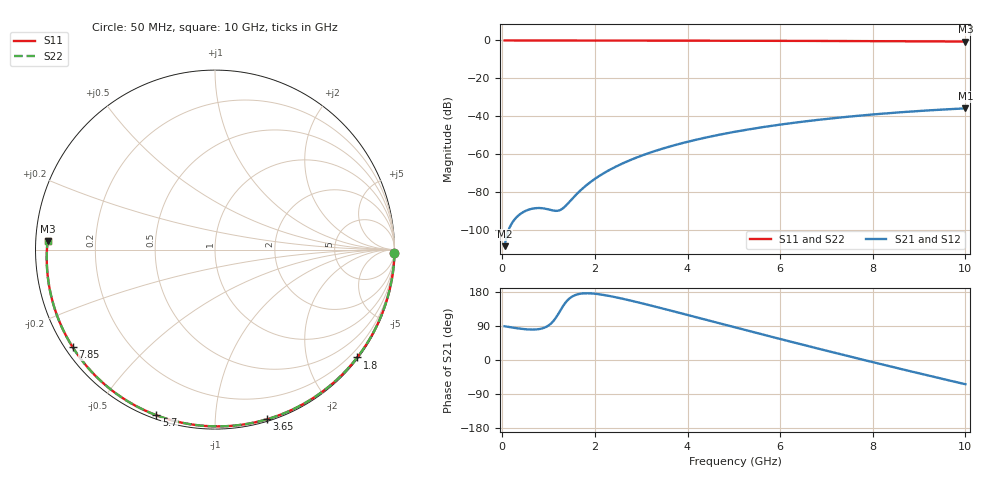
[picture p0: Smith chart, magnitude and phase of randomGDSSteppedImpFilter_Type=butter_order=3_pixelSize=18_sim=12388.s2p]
! freq	dB(S11)	phase(S11)	dB(S12)	phase(S12)
!  dB(S21)	phase(S21)	dB(S22)	phase(S22)
!S-par simulation data
#  GHz  S  DB  R 50
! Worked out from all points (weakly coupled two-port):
!   200 points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, 50 MHz to 10 GHz, reference 50 ohm
!   highest |S21| = -35.87 dB at 10 GHz (marker M1); lowest = -108.6 dB at 50 MHz (marker M2)
!   lowest |S11| = -0.6 dB at 10 GHz (marker M3), VSWR 29.36, Z = 1.7 + j1.26 ohm
!   |S11| at or under -10 dB: nowhere
!   |S22| runs from -0.6 to 0.0 dB; largest |S21 - S12| = 0
!   S11 on the Smith chart (normalised r, x): 50 MHz: open; 1.8 GHz: 0.03, -2.97; 3.65 GHz: 0.02, -1.35; 5.7 GHz: 0.02, -0.71; 7.85 GHz: 0.02, -0.31; 10 GHz: 0.03, +0.03
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0.05  -0.00 -1.1  -108.64 89.0  -108.64 89.0  -0.00 -1.1
0.4  -0.01 -8.4  -91.46 82.5  -91.46 82.5  -0.01 -8.4
0.8  -0.02 -16.8  -88.50 81.7  -88.50 81.7  -0.02 -16.8
1.2  -0.03 -25.0  -89.95 119.7  -89.95 119.7  -0.03 -25.0
1.65  -0.04 -34.2  -80.08 174.1  -80.08 174.1  -0.04 -34.2
1.75  -0.05 -36.2  -77.83 175.8  -77.83 175.8  -0.05 -36.2
1.8  -0.05 -37.2  -76.79 176.1  -76.79 176.1  -0.05 -37.2
2.1  -0.06 -43.2  -71.47 173.3  -71.47 173.3  -0.06 -43.2
2.45  -0.06 -50.1  -66.67 165.6  -66.67 165.6  -0.06 -50.1
2.9  -0.08 -58.9  -61.84 153.0  -61.84 153.0  -0.08 -58.9
3.4  -0.09 -68.4  -57.59 137.8  -57.59 137.8  -0.09 -68.4
3.65  -0.10 -73.0  -55.78 130.0  -55.78 130.0  -0.10 -73.0
4.35  -0.12 -85.8  -51.51 107.7  -51.51 107.7  -0.12 -85.8
5.05  -0.15 -98.3  -48.11 85.4  -48.11 85.4  -0.15 -98.3
5.7  -0.18 -109.5  -45.51 64.9  -45.51 64.9  -0.18 -109.5
6.2  -0.21 -118.0  -43.79 49.2  -43.79 49.2  -0.21 -118.0
6.7  -0.25 -126.4  -42.27 33.8  -42.27 33.8  -0.25 -126.4
7.3  -0.29 -136.4  -40.68 15.4  -40.68 15.4  -0.29 -136.4
7.85  -0.34 -145.5  -39.41 -1.2  -39.41 -1.2  -0.34 -145.5
8.35  -0.39 -153.9  -38.39 -16.1  -38.39 -16.1  -0.39 -153.9
9.2  -0.49 -168.5  -36.94 -41.0  -36.94 -41.0  -0.49 -168.6
10  -0.59 177.1  -35.87 -63.9  -35.87 -63.9  -0.59 177.1
